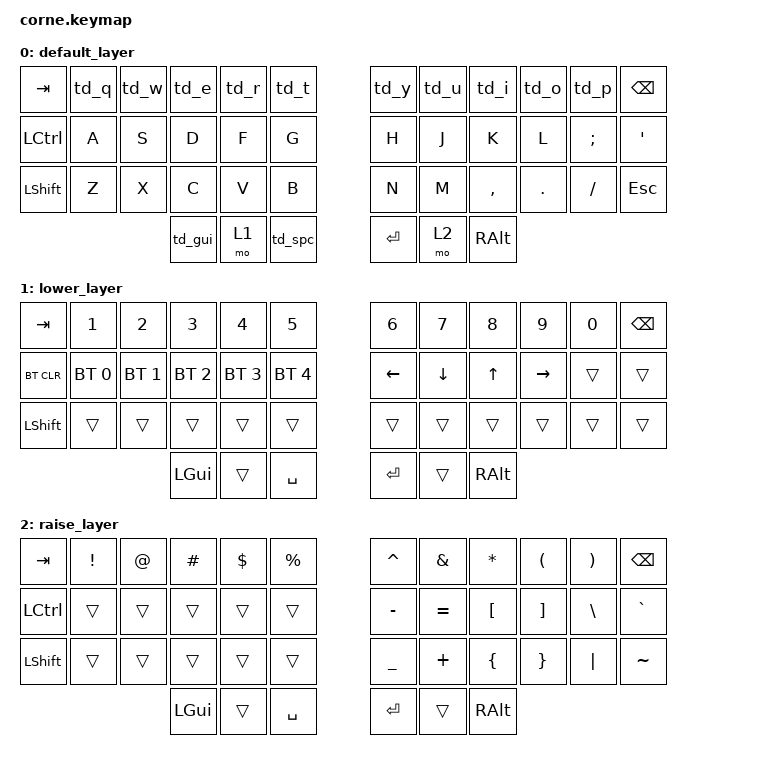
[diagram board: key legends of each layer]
// #include "../../../corne.keymap"

/*
 * Copyright (c) 2020 The ZMK Contributors
 *
 * SPDX-License-Identifier: MIT
 */

#include <behaviors.dtsi>
#include <dt-bindings/zmk/keys.h>
#include <dt-bindings/zmk/bt.h>

/ {
        behaviors {
                // GUI: tap = LGUI, double tap = GUI+SPACE
                td_gui: tap_dance_gui {
                        compatible = "zmk,behavior-tap-dance";
                        #binding-cells = <0>;
                        tapping-term-ms = <200>;
                        bindings = <&kp LGUI>, <&kp LG(SPACE)>;
                };
                // SPACE: tap = SPACE, double tap = GUI+SPACE
                td_spc: tap_dance_spc {
                        compatible = "zmk,behavior-tap-dance";
                        #binding-cells = <0>;
                        tapping-term-ms = <200>;
                        bindings = <&kp SPACE>, <&kp LG(SPACE)>;
                };
                // Letters Q-P: tap = letter, double tap = 1-0
                td_q: tap_dance_q { compatible = "zmk,behavior-tap-dance"; #binding-cells = <0>; tapping-term-ms = <200>; bindings = <&kp Q>, <&kp N1>; };
                td_w: tap_dance_w { compatible = "zmk,behavior-tap-dance"; #binding-cells = <0>; tapping-term-ms = <200>; bindings = <&kp W>, <&kp N2>; };
                td_e: tap_dance_e { compatible = "zmk,behavior-tap-dance"; #binding-cells = <0>; tapping-term-ms = <200>; bindings = <&kp E>, <&kp N3>; };
                td_r: tap_dance_r { compatible = "zmk,behavior-tap-dance"; #binding-cells = <0>; tapping-term-ms = <200>; bindings = <&kp R>, <&kp N4>; };
                td_t: tap_dance_t { compatible = "zmk,behavior-tap-dance"; #binding-cells = <0>; tapping-term-ms = <200>; bindings = <&kp T>, <&kp N5>; };
                td_y: tap_dance_y { compatible = "zmk,behavior-tap-dance"; #binding-cells = <0>; tapping-term-ms = <200>; bindings = <&kp Y>, <&kp N6>; };
                td_u: tap_dance_u { compatible = "zmk,behavior-tap-dance"; #binding-cells = <0>; tapping-term-ms = <200>; bindings = <&kp U>, <&kp N7>; };
                td_i: tap_dance_i { compatible = "zmk,behavior-tap-dance"; #binding-cells = <0>; tapping-term-ms = <200>; bindings = <&kp I>, <&kp N8>; };
                td_o: tap_dance_o { compatible = "zmk,behavior-tap-dance"; #binding-cells = <0>; tapping-term-ms = <200>; bindings = <&kp O>, <&kp N9>; };
                td_p: tap_dance_p { compatible = "zmk,behavior-tap-dance"; #binding-cells = <0>; tapping-term-ms = <200>; bindings = <&kp P>, <&kp N0>; };
        };

        keymap {
                compatible = "zmk,keymap";

                default_layer {
// -----------------------------------------------------------------------------------------
// |  TAB |  Q  |  W  |  E  |  R  |  T  |   |  Y  |  U   |  I  |  O  |  P  | BKSP |
// | CTRL |  A  |  S  |  D  |  F  |  G  |   |  H  |  J   |  K  |  L  |  ;  |  '   |
// | SHFT |  Z  |  X  |  C  |  V  |  B  |   |  N  |  M   |  ,  |  .  |  /  | ESC  |
//                    | GUI | LWR | SPC |   | ENT | RSE  | ALT |
                        bindings = <
   &kp TAB   &td_q &td_w &td_e &td_r &td_t   &td_y &td_u  &td_i     &td_o   &td_p    &kp BSPC
   &kp LCTRL &kp A &kp S &kp D &kp F &kp G   &kp H &kp J  &kp K     &kp L   &kp SEMI &kp SQT
   &kp LSHFT &kp Z &kp X &kp C &kp V &kp B   &kp N &kp M  &kp COMMA &kp DOT &kp FSLH &kp ESC
                  &td_gui &mo 1 &td_spc   &kp RET &mo 2 &kp RALT
                        >;
                };
                lower_layer {
// -----------------------------------------------------------------------------------------
// |  TAB |  1  |  2  |  3  |  4  |  5  |   |  6  |  7  |  8  |  9  |  0  | BKSP |
// | BTCLR| BT1 | BT2 | BT3 | BT4 | BT5 |   | LFT | DWN |  UP | RGT |     |      |
// | SHFT |     |     |     |     |     |   |     |     |     |     |     |      |
//                    | GUI |     | SPC |   | ENT |     | ALT |
                        bindings = <
   &kp TAB    &kp N1       &kp N2       &kp N3       &kp N4       &kp N5         &kp N6   &kp N7   &kp N8 &kp N9    &kp N0 &kp BSPC
   &bt BT_CLR &bt BT_SEL 0 &bt BT_SEL 1 &bt BT_SEL 2 &bt BT_SEL 3 &bt BT_SEL 4   &kp LEFT &kp DOWN &kp UP &kp RIGHT &trans &trans
   &kp LSHFT  &trans       &trans       &trans       &trans       &trans         &trans   &trans   &trans &trans    &trans &trans
                                    &kp LGUI     &trans       &kp SPACE      &kp RET  &trans   &kp RALT
                        >;
                };

                raise_layer {
// -----------------------------------------------------------------------------------------
// |  TAB |  !  |  @  |  #  |  $  |  %  |   |  ^  |  &  |  *  |  (  |  )  | BKSP |
// | CTRL |     |     |     |     |     |   |  -  |  =  |  [  |  ]  |  \  |  `   |
// | SHFT |     |     |     |     |     |   |  _  |  +  |  {  |  }  | "|" |  ~   |
//                    | GUI |     | SPC |   | ENT |     | ALT |
                        bindings = <
   &kp  TAB  &kp EXCL &kp AT &kp HASH &kp DLLR &kp PRCNT   &kp CARET &kp AMPS  &kp ASTRK &kp LPAR &kp RPAR &kp BSPC
   &kp LCTRL &trans   &trans &trans   &trans   &trans      &kp MINUS &kp EQUAL &kp LBKT  &kp RBKT &kp BSLH &kp GRAVE
   &kp LSHFT &trans   &trans &trans   &trans   &trans      &kp UNDER &kp PLUS  &kp LBRC  &kp RBRC &kp PIPE &kp TILDE
                             &kp LGUI &trans   &kp SPACE   &kp RET   &trans    &kp RALT
                        >;
                };
        };
};
